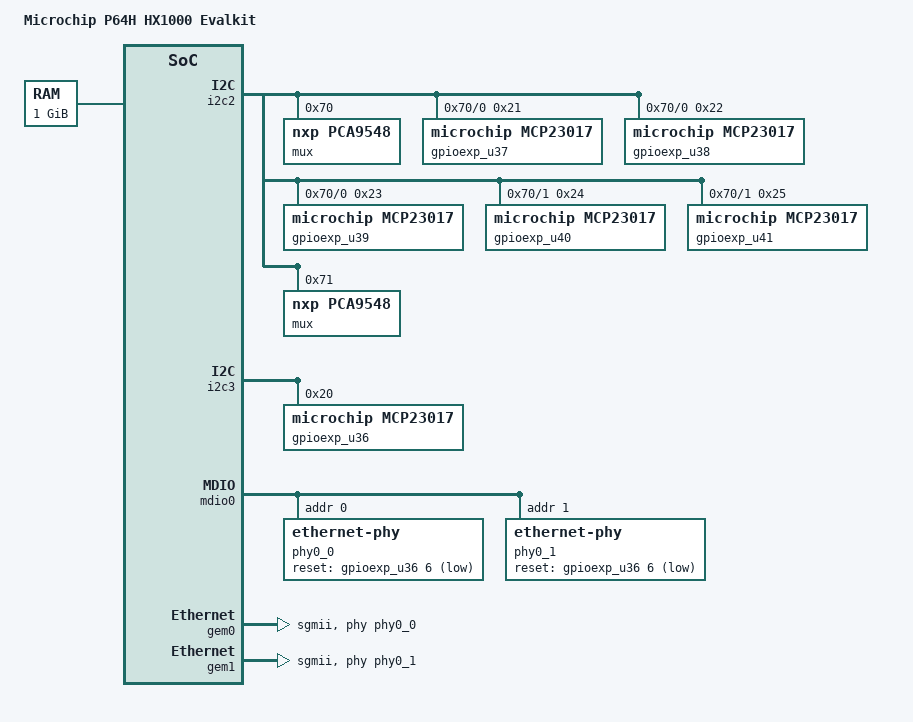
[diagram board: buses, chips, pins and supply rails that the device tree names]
// SPDX-License-Identifier: (GPL-2.0 OR MIT)
/* (c) 2026 Microchip Technology Inc. */

/dts-v1/;

#include <dt-bindings/gpio/gpio.h>
#include "p64h.dtsi"

/ {
	model = "Microchip P64H HX1000 Evalkit";

	aliases {
		serial0 = &uart0;
	};

	chosen {
		stdout-path = "serial0:115200";
	};

	memory: memory@4000000000 {
	 	device_type = "memory";
	 	reg = <0x40 0x00000000 0x0 0x40000000>;
	};
};

&i2c2 {
	mux@70 {
		compatible = "nxp,pca9548";
		#address-cells = <1>;
		#size-cells = <0>;
		reg = <0x70>;

		i2c@0 {
			#address-cells = <1>;
			#size-cells = <0>;
			reg = <0>;
			gpioexp_u37: mcp23017@21 {
				compatible = "microchip,mcp23017";
				reg = <0x21>;
			};

			gpioexp_u38: mcp23017@22 {
				compatible = "microchip,mcp23017";
				reg = <0x22>;
			};

			gpioexp_u39: mcp23017@23 {
				compatible = "microchip,mcp23017";
				reg = <0x23>;
			};
		};

		i2c@1 {
			#address-cells = <1>;
			#size-cells = <0>;
			reg = <1>;

			gpioexp_u40: mcp23017@24 {
				compatible = "microchip,mcp23017";
				reg = <0x24>;
			};

			gpioexp_u41: mcp23017@25 {
				compatible = "microchip,mcp23017";
				reg = <0x25>;
			};
		};

		i2c_sfp0: i2c@4 {
			#address-cells = <1>;
			#size-cells = <0>;
			reg = <4>;
		};

		i2c_sfp1: i2c@5 {
			#address-cells = <1>;
			#size-cells = <0>;
			reg = <5>;
		};

		i2c_sfp2: i2c@6 {
			#address-cells = <1>;
			#size-cells = <0>;
			reg = <6>;
		};

		i2c_sfp3: i2c@7 {
			#address-cells = <1>;
			#size-cells = <0>;
			reg = <7>;
		};
	};

	mux@71 {
		compatible = "nxp,pca9548";
		#address-cells = <1>;
		#size-cells = <0>;
		reg = <0x71>;

		i2c_sfp4: i2c@0 {
			#address-cells = <1>;
			#size-cells = <0>;
			reg = <0>;
		};

		i2c_sfp5: i2c@1 {
			#address-cells = <1>;
			#size-cells = <0>;
			reg = <1>;
		};

		i2c_sfp6: i2c@2 {
			#address-cells = <1>;
			#size-cells = <0>;
			reg = <2>;
		};

		i2c_sfp7: i2c@3 {
			#address-cells = <1>;
			#size-cells = <0>;
			reg = <3>;
		};

		i2c_sfp8: i2c@4 {
			#address-cells = <1>;
			#size-cells = <0>;
			reg = <4>;
		};

		i2c_sfp9: i2c@5 {
			#address-cells = <1>;
			#size-cells = <0>;
			reg = <5>;
		};

		i2c_sfp10: i2c@6 {
			#address-cells = <1>;
			#size-cells = <0>;
			reg = <6>;
		};

		i2c_sfp11: i2c@7 {
			#address-cells = <1>;
			#size-cells = <0>;
			reg = <7>;
		};
	};
};

&i2c3 {
	gpioexp_u36: mcp23017@20 {
		compatible = "microchip,mcp23017";
		reg = <0x20>;
		gpio-controller;
		#gpio-cells = <2>;

		gpio-line-names = "USB_PW0_EN", "USB_PW0_FLG",
			"USB_PW1_EN", "USB_PW1_FLG", "HX_FAN_TACH", "",
			"PHY_NRESET", "PHY_LVL_SHIFT_EN", "CAN_0_INT",
			"CAN_0_INT0", "CAN_0_INT1", "CAN_0_STBY", "CAN_1_INT",
			"CAN_1_INT0", "CAN_1_INT1", "CAN_1_STBY";

		phy-lvl-shift-en {
			gpio-hog;
			gpios = <7 GPIO_ACTIVE_HIGH>;
			output-high;
		};
	};
};

&mdio0 {
	/* VSC8572 QSGMII/SGMII dual port phy */
	phy0_0: ethernet-phy@0 {
		reg = <0>;
		reset-gpios = <&gpioexp_u36 6 GPIO_ACTIVE_LOW>;
		/* Datasheet table 3-31, 100ns pulse width, 105ms boot time */
		reset-assert-us = <10000>;
		reset-deassert-us = <120000>;
	};

	phy0_1: ethernet-phy@1 {
		reg = <1>;
		reset-gpios = <&gpioexp_u36 6 GPIO_ACTIVE_LOW>;
		reset-assert-us = <10000>;
		reset-deassert-us = <120000>;
	};
};

&gem0 {
	status = "okay";
	phy-handle = <&phy0_0>;
	local-mac-address = [A2 92 D1 83 16 98];
	phy-mode = "sgmii";
};

&gem1 {
	status = "okay";
	phy-handle = <&phy0_1>;
	local-mac-address = [A2 92 D1 83 16 99];
	phy-mode = "sgmii";
};

&gem2 {
	local-mac-address = [A2 92 D1 83 16 9A];
};

&gem3 {
	local-mac-address = [A2 92 D1 83 16 9B];
};

